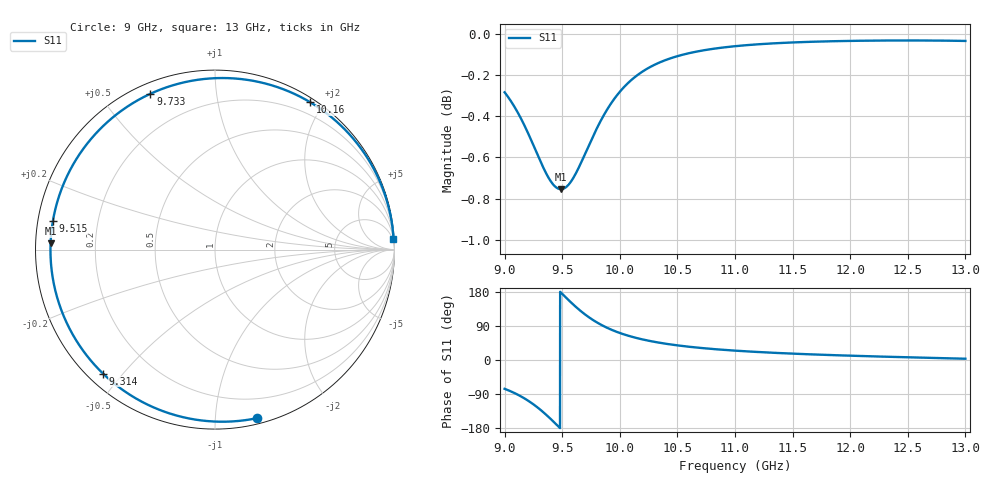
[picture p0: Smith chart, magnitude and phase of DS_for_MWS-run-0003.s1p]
! TOUCHSTONE file generated by CST DESIGN STUDIO
! Date and time: Tue Feb  4 14:04:13 2025
! Project name: C:\Work\MatlabApps\UnitCellOptimizationMatlab\CST\unitcell.cst
! Tree item: Tasks\Sweep1\SPara1\S-Parameters
! Header version: 2024
! Port assignment regex: !\s*Touchstone port\s*([0-9]+)\s*=\s*(CST MWS port|CST DES external port|CST DES block port)\s*(.+)\s* \(\"(.*)\"\)(\s*mode\s*([0-9]+))?.*
! Touchstone port assignment:
! Touchstone port 1 = CST DES external port 1 ("")
# GHz S MA R 50
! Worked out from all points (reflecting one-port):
!   4001 points, 9 GHz to 13 GHz, reference 50 ohm
!   lowest |S11| = -0.8 dB at 9.489 GHz (marker M1), VSWR 23.05, Z = 2.17 + j0.931 ohm
!   phase of S11 starts at -76 deg and turns -281 deg over the sweep
!   S11 on the Smith chart (normalised r, x): 9 GHz: 0.04, -1.28; 9.314 GHz: 0.04, -0.44; 9.515 GHz: 0.04, +0.09; 9.733 GHz: 0.04, +0.67; 10.16 GHz: 0.05, +1.84; 13 GHz: 2, +34
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9  0.9679 -76.0
9.08  0.9607 -86.4
9.179  0.9492 -102.6
9.249  0.9398 -116.7
9.314  0.9308 -132.1
9.36  0.9251 -144.3
9.409  0.9202 -158.2
9.45  0.9176 -170.3
9.489  0.9168 177.9
9.5  0.9169 174.5
9.515  0.9172 170.0
9.568  0.9201 154.3
9.628  0.9261 137.6
9.68  0.9327 124.5
9.733  0.9398 112.5
9.787  0.9469 101.8
9.846  0.9539 91.6
9.922  0.9617 80.6
10  0.9682 71.3
10.158  0.9775 57.1
10.313  0.9833 47.2
10.5  0.9877 38.6
10.722  0.9909 31.3
11  0.9932 24.7
11.5  0.9953 16.8
12  0.9962 11.4
12.5  0.9964 7.1
13  0.9961 3.4
